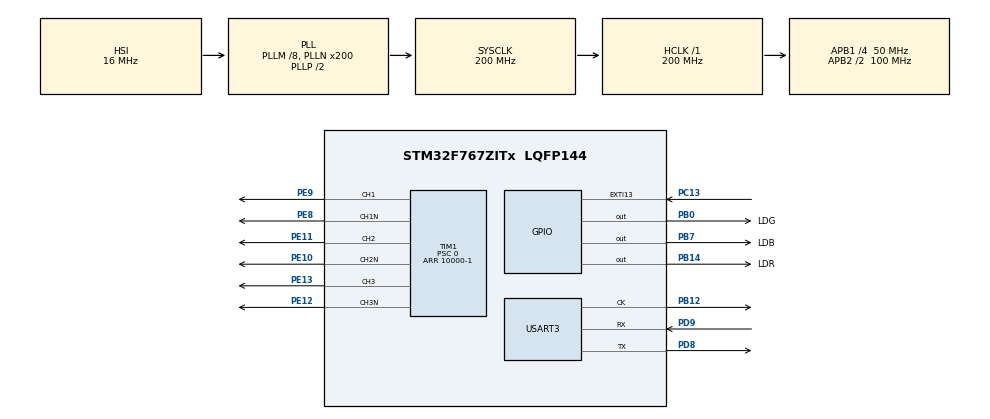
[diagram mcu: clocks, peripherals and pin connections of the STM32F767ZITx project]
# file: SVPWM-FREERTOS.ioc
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Mcu.Family=STM32F7
RCC.CortexFreq_Value=200000000
PB14.GPIO_Label=LDR
RCC.SYSCLKSourceVirtual=RCC_SYSCLKSOURCE_PLLCLK
PB0.GPIO_Label=LDG
PD9.Mode=Synchronous
RCC.SYSCLKSource=RCC_SYSCLKSOURCE_PLLCLK
ProjectManager.StackSize=0x400
VP_FREERTOS_VS_CMSIS_V2.Mode=CMSIS_V2
TIM1.Prescaler=0
PB0.PinState=GPIO_PIN_RESET
PH0/OSC_IN.Mode=HSE-External-Oscillator
RCC.HCLKFreq_Value=200000000
SH.ADCx_IN3.0=ADC1_IN3
RCC.APB2TimFreq_Value=200000000
PH1/OSC_OUT.Signal=RCC_OSC_OUT
PC3.Signal=ADCx_IN13
PD8.Signal=USART3_TX
RCC.AHBFreq_Value=200000000
FREERTOS.configUSE_PREEMPTION=1
NVIC.EXTI15_10_IRQn=true\:5\:0\:false\:false\:true\:true\:true\:true
RCC.HSE_VALUE=16000000
USART3.VirtualMode-Synchronous=VM_SYNC
RCC.PLLMUL=RCC_PLL_MUL9
PE13.Signal=S_TIM1_CH3
PE9.Signal=S_TIM1_CH1
TIM1.DeadTime=100
NVIC.TIM2_IRQn=true\:5\:0\:false\:false\:true\:true\:true\:true
PB7.Signal=GPIO_Output
TIM4.Period=4167-1
PH1/OSC_OUT.Mode=HSE-External-Oscillator
PE10.Signal=TIM1_CH2N
VP_TIM1_VS_ClockSourceINT.Mode=Internal
TIM1.OCFastMode_PWM-PWM\ Generation1\ CH1\ CH1N=TIM_OCFAST_DISABLE
PB7.PinState=GPIO_PIN_RESET
PB7.GPIO_Label=LDB
Mcu.Package=LQFP144
TIM2.Prescaler=5-1
PB12.Mode=Synchronous
NVIC.TimeBase=TIM3_IRQn
NVIC.TimeBaseIP=TIM3
TIM1.OCFastMode_PWM-PWM\ Generation2\ CH2\ CH2N=TIM_OCFAST_DISABLE
RCC.APB2CLKDivider=RCC_HCLK_DIV2
RCC.APB1TimFreq_Value=100000000
TIM1.Period=10000-1
TIM1.OCFastMode_PWM-PWM\ Generation3\ CH3\ CH3N=TIM_OCFAST_DISABLE
PA3.Signal=ADCx_IN3
PE12.Mode=PWM Generation3 CH3 CH3N
SH.ADCx_IN13.0=ADC1_IN13
TIM4.AutoReloadPreload=TIM_AUTORELOAD_PRELOAD_DISABLE
FREERTOS.Tasks01=Default,8,128,default_task,Default,NULL,Dynamic,NULL,NULL;DutyCycle,48,128,calc_dutycycle,Default,NULL,Dynamic,NULL,NULL;Main,24,128,main_task,Default,NULL,Dynamic,NULL,NULL
TIM1.CounterMode=TIM_COUNTERMODE_CENTERALIGNED1
PC13.Signal=GPXTI13
PE10.Mode=PWM Generation2 CH2 CH2N
PD9.Signal=USART3_RX
TIM1.Channel-PWM\ Generation1\ CH1\ CH1N=TIM_CHANNEL_1
PC0.Signal=ADCx_IN10
RCC.APB1CLKDivider=RCC_HCLK_DIV4
PE8.Mode=PWM Generation1 CH1 CH1N
TIM1.Channel-PWM\ Generation2\ CH2\ CH2N=TIM_CHANNEL_2
VP_SYS_VS_tim3.Mode=TIM3
PB14.PinState=GPIO_PIN_RESET
SH.S_TIM1_CH1.0=TIM1_CH1,PWM Generation1 CH1 CH1N
ProjectManager.TargetToolchain=STM32CubeIDE
TIM1.Channel-PWM\ Generation3\ CH3\ CH3N=TIM_CHANNEL_3
RCC.USBFreq_Value=200000000
TIM4.Prescaler=16-1
PE11.Signal=S_TIM1_CH2
RCC.LSE_VALUE=32768
PD8.Mode=Synchronous
PB14.Signal=GPIO_Output
board=NUCLEO-F767ZI
RCC.VCOOutputFreq_Value=400000000
NVIC.TIM3_IRQn=true\:0\:0\:false\:false\:true\:false\:false\:true
PH0/OSC_IN.Signal=RCC_OSC_IN
RCC.APB2Freq_Value=100000000
RCC.PRESCALERUSB=RCC_USBCLKSOURCE_PLL_DIV1_5
SH.S_TIM1_CH2.0=TIM1_CH2,PWM Generation2 CH2 CH2N
VP_TIM2_VS_ClockSourceINT.Mode=Internal
PE8.Signal=TIM1_CH1N
TIM2.Period=200000-1
Mcu.Name=STM32F767ZITx
PE12.Signal=TIM1_CH3N
RCC.48MHZClocksFreq_Value=24000000
RCC.SYSCLKFreq_VALUE=200000000
SH.ADCx_IN10.0=ADC1_IN10
ProjectManager.HeapSize=0x200
SH.S_TIM1_CH3.0=TIM1_CH3,PWM Generation3 CH3 CH3N
RCC.HSI_VALUE=16000000
VP_TIM4_VS_ClockSourceINT.Mode=Internal
NVIC.PriorityGroup=NVIC_PRIORITYGROUP_4
RCC.PLLM=8
RCC.PLLN=200
NVIC.TIM4_IRQn=true\:5\:0\:false\:false\:true\:true\:true\:true
RCC.APB1Freq_Value=50000000
PB0.Signal=GPIO_Output
PB12.Signal=USART3_CK

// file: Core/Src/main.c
/* USER CODE BEGIN Header */
/**
 ******************************************************************************
 * @file           : main.c
 * @brief          : Main program body
 ******************************************************************************
 * @attention
 *
 * <h2><center>&copy; Copyright (c) 2021 STMicroelectronics.
 * All rights reserved.</center></h2>
 *
 * This software component is licensed by ST under BSD 3-Clause license,
 * the "License"; You may not use this file except in compliance with the
 * License. You may obtain a copy of the License at:
 *                        opensource.org/licenses/BSD-3-Clause
 *
 ******************************************************************************
 */
/* USER CODE END Header */
#include "main.h"
#include "cmsis_os.h"

/* USER CODE BEGIN Includes */
#include "inverter.h"
#include <stdlib.h>
#include <math.h>
/* USER CODE END Includes */

/* USER CODE BEGIN PD */
void inverter_set_channel(InverterChannels ch, ChannelState state);
void inverter_set_fout(double f);
void inverter_set_Vm(double vm);
/* USER CODE END PD */

/* USER CODE BEGIN PM */
#define RON  HAL_GPIO_WritePin(LDR_GPIO_Port, LDR_Pin, 1)
#define ROFF HAL_GPIO_WritePin(LDR_GPIO_Port, LDR_Pin, 0)

#define BON  HAL_GPIO_WritePin(LDB_GPIO_Port, LDB_Pin, 1)
#define BOFF HAL_GPIO_WritePin(LDB_GPIO_Port, LDB_Pin, 0)

#define GON  HAL_GPIO_WritePin(LDG_GPIO_Port, LDG_Pin, 1)
#define GOFF HAL_GPIO_WritePin(LDG_GPIO_Port, LDG_Pin, 0)

#define BUF_SIZE 10000
/* USER CODE END PM */

TIM_HandleTypeDef htim1;
TIM_HandleTypeDef htim2;
TIM_HandleTypeDef htim4;

USART_HandleTypeDef husart3;

/* Definitions for Default */
osThreadId_t DefaultHandle;
const osThreadAttr_t Default_attributes = {
  .name = "Default",
  .stack_size = 128 * 4,
  .priority = (osPriority_t) osPriorityLow,
};
/* Definitions for DutyCycle */
osThreadId_t DutyCycleHandle;
const osThreadAttr_t DutyCycle_attributes = {
  .name = "DutyCycle",
  .stack_size = 128 * 4,
  .priority = (osPriority_t) osPriorityRealtime,
};
/* Definitions for Main */
osThreadId_t MainHandle;
const osThreadAttr_t Main_attributes = {
  .name = "Main",
  .stack_size = 128 * 4,
  .priority = (osPriority_t) osPriorityNormal,
};

void SystemClock_Config(void);
static void MX_GPIO_Init(void);
static void MX_TIM4_Init(void);
static void MX_TIM1_Init(void);
static void MX_USART3_Init(void);
static void MX_TIM2_Init(void);
void default_task(void *argument);
void calc_dutycycle(void *argument);
void main_task(void *argument);

/* USER CODE BEGIN 0 */
Inverter inv;

uint16_t adc_val_U[BUF_SIZE];
uint16_t adc_val_V[BUF_SIZE];
uint16_t adc_val_W[BUF_SIZE];

/* USER CODE END 0 */

int main(void)
{
  /* USER CODE BEGIN 1 */
	inv_init(&inv);
	inv.f_sampling = 1500;
	inverter_set_fout(50);

  /* USER CODE END 1 */

  /* MCU Configuration--------------------------------------------------------*/

  /* Reset of all peripherals, Initializes the Flash interface and the Systick. */
  HAL_Init();

  /* Configure the system clock */
  SystemClock_Config();

  /* Initialize all configured peripherals */
  MX_GPIO_Init();
  MX_TIM4_Init();
  MX_TIM1_Init();
  MX_USART3_Init();
  MX_TIM2_Init();

  /* Init scheduler */
  osKernelInitialize();

  /* Create the thread(s) */
  /* creation of Default */
  DefaultHandle = osThreadNew(default_task, NULL, &Default_attributes);

  /* creation of DutyCycle */
  DutyCycleHandle = osThreadNew(calc_dutycycle, NULL, &DutyCycle_attributes);

  /* creation of Main */
  MainHandle = osThreadNew(main_task, NULL, &Main_attributes);

  /* USER CODE BEGIN RTOS_THREADS */
	/* add threads, ... */
	vTaskSuspend(DefaultHandle);

	inverter_set_channel(U, ON);
	inverter_set_channel(UN, ON);
	inverter_set_channel(V, ON);
	inverter_set_channel(VN, ON);
	inverter_set_channel(W, ON);
	inverter_set_channel(WN, ON);

	HAL_TIM_Base_Start_IT(&htim4);
	HAL_TIM_Base_Start(&htim2);

  /* USER CODE END RTOS_THREADS */

  /* Start scheduler */
  osKernelStart();

  /* We should never get here as control is now taken by the scheduler */
  /* Infinite loop */
	while (1) {

	}
}

void SystemClock_Config(void)
{
  RCC_OscInitTypeDef RCC_OscInitStruct = {0};
  RCC_ClkInitTypeDef RCC_ClkInitStruct = {0};
  RCC_PeriphCLKInitTypeDef PeriphClkInitStruct = {0};

  /** Configure the main internal regulator output voltage
  */
  __HAL_RCC_PWR_CLK_ENABLE();
  __HAL_PWR_VOLTAGESCALING_CONFIG(PWR_REGULATOR_VOLTAGE_SCALE1);
  /** Initializes the RCC Oscillators according to the specified parameters
  * in the RCC_OscInitTypeDef structure.
  */
  RCC_OscInitStruct.OscillatorType = RCC_OSCILLATORTYPE_HSI;
  RCC_OscInitStruct.HSIState = RCC_HSI_ON;
  RCC_OscInitStruct.HSICalibrationValue = RCC_HSICALIBRATION_DEFAULT;
  RCC_OscInitStruct.PLL.PLLState = RCC_PLL_ON;
  RCC_OscInitStruct.PLL.PLLSource = RCC_PLLSOURCE_HSI;
  RCC_OscInitStruct.PLL.PLLM = 8;
  RCC_OscInitStruct.PLL.PLLN = 200;
  RCC_OscInitStruct.PLL.PLLP = RCC_PLLP_DIV2;
  RCC_OscInitStruct.PLL.PLLQ = 2;
  if (HAL_RCC_OscConfig(&RCC_OscInitStruct) != HAL_OK)
  {
    Error_Handler();
  }
  /** Activate the Over-Drive mode
  */
  if (HAL_PWREx_EnableOverDrive() != HAL_OK)
  {
    Error_Handler();
  }
  /** Initializes the CPU, AHB and APB buses clocks
  */
  RCC_ClkInitStruct.ClockType = RCC_CLOCKTYPE_HCLK|RCC_CLOCKTYPE_SYSCLK
                              |RCC_CLOCKTYPE_PCLK1|RCC_CLOCKTYPE_PCLK2;
  RCC_ClkInitStruct.SYSCLKSource = RCC_SYSCLKSOURCE_PLLCLK;
  RCC_ClkInitStruct.AHBCLKDivider = RCC_SYSCLK_DIV1;
  RCC_ClkInitStruct.APB1CLKDivider = RCC_HCLK_DIV4;
  RCC_ClkInitStruct.APB2CLKDivider = RCC_HCLK_DIV2;

  if (HAL_RCC_ClockConfig(&RCC_ClkInitStruct, FLASH_LATENCY_6) != HAL_OK)
  {
    Error_Handler();
  }
  PeriphClkInitStruct.PeriphClockSelection = RCC_PERIPHCLK_USART3;
  PeriphClkInitStruct.Usart3ClockSelection = RCC_USART3CLKSOURCE_PCLK1;
  if (HAL_RCCEx_PeriphCLKConfig(&PeriphClkInitStruct) != HAL_OK)
  {
    Error_Handler();
  }
}

static void MX_TIM1_Init(void)
{

  TIM_ClockConfigTypeDef sClockSourceConfig = {0};
  TIM_MasterConfigTypeDef sMasterConfig = {0};
  TIM_OC_InitTypeDef sConfigOC = {0};
  TIM_BreakDeadTimeConfigTypeDef sBreakDeadTimeConfig = {0};

  htim1.Instance = TIM1;
  htim1.Init.Prescaler = 0;
  htim1.Init.CounterMode = TIM_COUNTERMODE_CENTERALIGNED1;
  htim1.Init.Period = 10000-1;
  htim1.Init.ClockDivision = TIM_CLOCKDIVISION_DIV1;
  htim1.Init.RepetitionCounter = 0;
  htim1.Init.AutoReloadPreload = TIM_AUTORELOAD_PRELOAD_DISABLE;
  if (HAL_TIM_Base_Init(&htim1) != HAL_OK)
  {
    Error_Handler();
  }
  sClockSourceConfig.ClockSource = TIM_CLOCKSOURCE_INTERNAL;
  if (HAL_TIM_ConfigClockSource(&htim1, &sClockSourceConfig) != HAL_OK)
  {
    Error_Handler();
  }
  if (HAL_TIM_PWM_Init(&htim1) != HAL_OK)
  {
    Error_Handler();
  }
  sMasterConfig.MasterOutputTrigger = TIM_TRGO_RESET;
  sMasterConfig.MasterOutputTrigger2 = TIM_TRGO2_RESET;
  sMasterConfig.MasterSlaveMode = TIM_MASTERSLAVEMODE_DISABLE;
  if (HAL_TIMEx_MasterConfigSynchronization(&htim1, &sMasterConfig) != HAL_OK)
  {
    Error_Handler();
  }
  sConfigOC.OCMode = TIM_OCMODE_PWM1;
  sConfigOC.Pulse = 0;
  sConfigOC.OCPolarity = TIM_OCPOLARITY_HIGH;
  sConfigOC.OCNPolarity = TIM_OCNPOLARITY_HIGH;
  sConfigOC.OCFastMode = TIM_OCFAST_DISABLE;
  sConfigOC.OCIdleState = TIM_OCIDLESTATE_RESET;
  sConfigOC.OCNIdleState = TIM_OCNIDLESTATE_RESET;
  if (HAL_TIM_PWM_ConfigChannel(&htim1, &sConfigOC, TIM_CHANNEL_1) != HAL_OK)
  {
    Error_Handler();
  }
  if (HAL_TIM_PWM_ConfigChannel(&htim1, &sConfigOC, TIM_CHANNEL_2) != HAL_OK)
  {
    Error_Handler();
  }
  if (HAL_TIM_PWM_ConfigChannel(&htim1, &sConfigOC, TIM_CHANNEL_3) != HAL_OK)
  {
    Error_Handler();
  }
  sBreakDeadTimeConfig.OffStateRunMode = TIM_OSSR_DISABLE;
  sBreakDeadTimeConfig.OffStateIDLEMode = TIM_OSSI_DISABLE;
  sBreakDeadTimeConfig.LockLevel = TIM_LOCKLEVEL_OFF;
  sBreakDeadTimeConfig.DeadTime = 100;
  sBreakDeadTimeConfig.BreakState = TIM_BREAK_DISABLE;
  sBreakDeadTimeConfig.BreakPolarity = TIM_BREAKPOLARITY_HIGH;
  sBreakDeadTimeConfig.BreakFilter = 0;
  sBreakDeadTimeConfig.Break2State = TIM_BREAK2_DISABLE;
  sBreakDeadTimeConfig.Break2Polarity = TIM_BREAK2POLARITY_HIGH;
  sBreakDeadTimeConfig.Break2Filter = 0;
  sBreakDeadTimeConfig.AutomaticOutput = TIM_AUTOMATICOUTPUT_DISABLE;
  if (HAL_TIMEx_ConfigBreakDeadTime(&htim1, &sBreakDeadTimeConfig) != HAL_OK)
  {
    Error_Handler();
  }
  HAL_TIM_MspPostInit(&htim1);

}

static void MX_TIM2_Init(void)
{

  TIM_ClockConfigTypeDef sClockSourceConfig = {0};
  TIM_MasterConfigTypeDef sMasterConfig = {0};

  htim2.Instance = TIM2;
  htim2.Init.Prescaler = 5-1;
  htim2.Init.CounterMode = TIM_COUNTERMODE_UP;
  htim2.Init.Period = 200000-1;
  htim2.Init.ClockDivision = TIM_CLOCKDIVISION_DIV1;
  htim2.Init.AutoReloadPreload = TIM_AUTORELOAD_PRELOAD_DISABLE;
  if (HAL_TIM_Base_Init(&htim2) != HAL_OK)
  {
    Error_Handler();
  }
  sClockSourceConfig.ClockSource = TIM_CLOCKSOURCE_INTERNAL;
  if (HAL_TIM_ConfigClockSource(&htim2, &sClockSourceConfig) != HAL_OK)
  {
    Error_Handler();
  }
  sMasterConfig.MasterOutputTrigger = TIM_TRGO_RESET;
  sMasterConfig.MasterSlaveMode = TIM_MASTERSLAVEMODE_DISABLE;
  if (HAL_TIMEx_MasterConfigSynchronization(&htim2, &sMasterConfig) != HAL_OK)
  {
    Error_Handler();
  }

}

static void MX_TIM4_Init(void)
{

  TIM_ClockConfigTypeDef sClockSourceConfig = {0};
  TIM_MasterConfigTypeDef sMasterConfig = {0};

  htim4.Instance = TIM4;
  htim4.Init.Prescaler = 16-1;
  htim4.Init.CounterMode = TIM_COUNTERMODE_UP;
  htim4.Init.Period = 4167-1;
  htim4.Init.ClockDivision = TIM_CLOCKDIVISION_DIV1;
  htim4.Init.AutoReloadPreload = TIM_AUTORELOAD_PRELOAD_DISABLE;
  if (HAL_TIM_Base_Init(&htim4) != HAL_OK)
  {
    Error_Handler();
  }
  sClockSourceConfig.ClockSource = TIM_CLOCKSOURCE_INTERNAL;
  if (HAL_TIM_ConfigClockSource(&htim4, &sClockSourceConfig) != HAL_OK)
  {
    Error_Handler();
  }
  sMasterConfig.MasterOutputTrigger = TIM_TRGO_RESET;
  sMasterConfig.MasterSlaveMode = TIM_MASTERSLAVEMODE_DISABLE;
  if (HAL_TIMEx_MasterConfigSynchronization(&htim4, &sMasterConfig) != HAL_OK)
  {
    Error_Handler();
  }

}

static void MX_USART3_Init(void)
{

  husart3.Instance = USART3;
  husart3.Init.BaudRate = 115200;
  husart3.Init.WordLength = USART_WORDLENGTH_8B;
  husart3.Init.StopBits = USART_STOPBITS_1;
  husart3.Init.Parity = USART_PARITY_NONE;
  husart3.Init.Mode = USART_MODE_TX_RX;
  husart3.Init.CLKPolarity = USART_POLARITY_LOW;
  husart3.Init.CLKPhase = USART_PHASE_1EDGE;
  husart3.Init.CLKLastBit = USART_LASTBIT_DISABLE;
  if (HAL_USART_Init(&husart3) != HAL_OK)
  {
    Error_Handler();
  }

}

static void MX_GPIO_Init(void)
{
  GPIO_InitTypeDef GPIO_InitStruct = {0};

  /* GPIO Ports Clock Enable */
  __HAL_RCC_GPIOC_CLK_ENABLE();
  __HAL_RCC_GPIOH_CLK_ENABLE();
  __HAL_RCC_GPIOA_CLK_ENABLE();
  __HAL_RCC_GPIOB_CLK_ENABLE();
  __HAL_RCC_GPIOE_CLK_ENABLE();
  __HAL_RCC_GPIOD_CLK_ENABLE();

  /*Configure GPIO pin Output Level */
  HAL_GPIO_WritePin(GPIOB, LDG_Pin|LDR_Pin|LDB_Pin, GPIO_PIN_RESET);

  /*Configure GPIO pin : PC13 */
  GPIO_InitStruct.Pin = GPIO_PIN_13;
  GPIO_InitStruct.Mode = GPIO_MODE_IT_RISING;
  GPIO_InitStruct.Pull = GPIO_NOPULL;
  HAL_GPIO_Init(GPIOC, &GPIO_InitStruct);

  /*Configure GPIO pins : PC0 PC3 */
  GPIO_InitStruct.Pin = GPIO_PIN_0|GPIO_PIN_3;
  GPIO_InitStruct.Mode = GPIO_MODE_ANALOG;
  GPIO_InitStruct.Pull = GPIO_NOPULL;
  HAL_GPIO_Init(GPIOC, &GPIO_InitStruct);

  /*Configure GPIO pin : PA3 */
  GPIO_InitStruct.Pin = GPIO_PIN_3;
  GPIO_InitStruct.Mode = GPIO_MODE_ANALOG;
  GPIO_InitStruct.Pull = GPIO_NOPULL;
  HAL_GPIO_Init(GPIOA, &GPIO_InitStruct);

  /*Configure GPIO pins : LDG_Pin LDR_Pin LDB_Pin */
  GPIO_InitStruct.Pin = LDG_Pin|LDR_Pin|LDB_Pin;
  GPIO_InitStruct.Mode = GPIO_MODE_OUTPUT_PP;
  GPIO_InitStruct.Pull = GPIO_NOPULL;
  GPIO_InitStruct.Speed = GPIO_SPEED_FREQ_LOW;
  HAL_GPIO_Init(GPIOB, &GPIO_InitStruct);

  /* EXTI interrupt init*/
  HAL_NVIC_SetPriority(EXTI15_10_IRQn, 5, 0);
  HAL_NVIC_EnableIRQ(EXTI15_10_IRQn);

}

/* USER CODE BEGIN 4 */

void inverter_set_channel(InverterChannels ch, ChannelState state) {
	switch (ch) {
	case U:
		if (state == ON) {
			HAL_TIM_PWM_Start(&htim1, TIM_CHANNEL_1);
		} else {
			HAL_TIM_PWM_Stop(&htim1, TIM_CHANNEL_1);
		}
		break;

	case UN:
		if (state == ON) {
			HAL_TIMEx_PWMN_Start(&htim1, TIM_CHANNEL_1);
		} else {
			HAL_TIMEx_PWMN_Stop(&htim1, TIM_CHANNEL_1);
		}
		break;

	case V:
		if (state == ON) {
			HAL_TIM_PWM_Start(&htim1, TIM_CHANNEL_2);
		} else {
			HAL_TIM_PWM_Stop(&htim1, TIM_CHANNEL_2);
		}
		break;

	case VN:
		if (state == ON) {
			HAL_TIMEx_PWMN_Start(&htim1, TIM_CHANNEL_2);
		} else {
			HAL_TIMEx_PWMN_Stop(&htim1, TIM_CHANNEL_2);
		}
		break;

	case W:
		if (state == ON) {
			HAL_TIM_PWM_Start(&htim1, TIM_CHANNEL_3);
		} else {
			HAL_TIM_PWM_Stop(&htim1, TIM_CHANNEL_3);
		}
		break;

	case WN:
		if (state == ON) {
			HAL_TIMEx_PWMN_Start(&htim1, TIM_CHANNEL_3);
		} else {
			HAL_TIMEx_PWMN_Stop(&htim1, TIM_CHANNEL_3);
		}
		break;
	}
}

void inverter_set_fout(double f) {
	f = (f < 0.01) ? 0.0 : f;
	f = (f > 100.0) ? 100.0 : f;
	inv.f_out = f;
	htim2.Instance->ARR = (uint32_t) 100e6 / (f * (htim2.Instance->PSC + 1));
}

void inverter_set_Vm(double vm) {
	vm = (vm < 0.01) ? 0.0 : vm;
	vm = (vm > MAXV) ? MAXV : vm;
	inv.Vm = vm;
}

void EXTI15_10_IRQHandler(void) {
	/* USER CODE BEGIN EXTI15_10_IRQn 0 */

	/* USER CODE END EXTI15_10_IRQn 0 */
	HAL_GPIO_EXTI_IRQHandler(GPIO_PIN_13);
	/* USER CODE BEGIN EXTI15_10_IRQn 1 */
	xTaskResumeFromISR(MainHandle);

	/* USER CODE END EXTI15_10_IRQn 1 */
}

/* USER CODE END 4 */

void default_task(void *argument)
{
  /* USER CODE BEGIN 5 */
	/* Infinite loop */
	for (;;) {
		HAL_GPIO_WritePin(LDB_GPIO_Port, LDB_Pin, 0);
		HAL_GPIO_WritePin(LDG_GPIO_Port, LDG_Pin, 0);
		HAL_GPIO_WritePin(LDR_GPIO_Port, LDR_Pin, 0);
		osDelay(500);
		HAL_GPIO_WritePin(LDB_GPIO_Port, LDB_Pin, 1);
		HAL_GPIO_WritePin(LDG_GPIO_Port, LDG_Pin, 1);
		HAL_GPIO_WritePin(LDR_GPIO_Port, LDR_Pin, 1);
		osDelay(500);

	}
  /* USER CODE END 5 */
}

void calc_dutycycle(void *argument)
{
  /* USER CODE BEGIN calc_dutycycle */
	/* Infinite loop */
	for (;;) {
		RON;
		inv.theta = (double) (htim2.Instance->CNT + 1)
				/ (htim2.Instance->ARR + 1) * 2 * PI;
		inv_calc_dc(&inv);
		__HAL_TIM_SET_COMPARE(&htim1, TIM_CHANNEL_1,
				(10000-1) * inv.dc[U]);
		__HAL_TIM_SET_COMPARE(&htim1, TIM_CHANNEL_2,
				(10000-1) * inv.dc[V]);
		__HAL_TIM_SET_COMPARE(&htim1, TIM_CHANNEL_3,
				(10000-1) * inv.dc[W]);
		ROFF;
		vTaskSuspend(DutyCycleHandle);

	}
  /* USER CODE END calc_dutycycle */
}

void main_task(void *argument)
{
  /* USER CODE BEGIN main_task */
	const double nb_steps = 100;
	const double max_V = 20.0;
	const double max_f = 50.0;
	const double step_V = max_V / nb_steps;
	const double step_f = max_f / nb_steps;

	const uint32_t ramptime = 5;
	const uint32_t testcase_runtime = 200;
	const uint32_t testcase_recoverytime = 200;

	/* Infinite loop */
	for (;;) {
		 // RAMP UP
		 vTaskSuspend(MainHandle);
		 for (int i = 0; i < nb_steps; i++) {
		 inverter_set_fout((i + 1) * step_f);
		 inverter_set_Vm((i + 1) * step_V);
		 osDelay(ramptime);
		 }

		 vTaskSuspend(MainHandle);

		 inverter_set_channel(U, OFF);
		 vTaskSuspend(MainHandle);

		 inverter_set_channel(U, ON);
		 inverter_set_channel(UN, OFF);
                 vTaskSuspend(MainHandle);

		 inverter_set_channel(UN, ON);
		 inverter_set_channel(V, OFF);
                 vTaskSuspend(MainHandle);

		 inverter_set_channel(V, ON);
		 inverter_set_channel(VN, OFF);
                 vTaskSuspend(MainHandle);

		 inverter_set_channel(VN, ON);
		 inverter_set_channel(W, OFF);
                 vTaskSuspend(MainHandle);

		 inverter_set_channel(W, ON);
		 inverter_set_channel(WN, OFF);
                 vTaskSuspend(MainHandle);

		 inverter_set_channel(WN, ON);
		 vTaskSuspend(MainHandle);

		 // RAMPDOWN
		 for (int i = nb_steps; i > 0; i--) {
		 inverter_set_fout((i - 1) * step_f);
		 inverter_set_Vm((i - 1) * step_V);
		 osDelay(ramptime);
		 }

		 // DONE TEST
		 HAL_TIM_Base_Stop_IT(&htim4);
		 HAL_TIM_Base_Stop(&htim4);
		 inverter_set_channel(U, OFF);
		 inverter_set_channel(UN, OFF);
		 inverter_set_channel(V, OFF);
		 inverter_set_channel(VN, OFF);
		 inverter_set_channel(W, OFF);
		 inverter_set_channel(WN, OFF);
		 vTaskSuspend(DutyCycleHandle);
		 vTaskResume(DefaultHandle);
		 vTaskDelete(DutyCycleHandle);
		 vTaskDelete(MainHandle);
		 vTaskSuspend(MainHandle);
                 vTaskResume(DefaultHandle);

	}
  /* USER CODE END main_task */
}

 /**
  * @brief  Period elapsed callback in non blocking mode
  * @note   This function is called  when TIM3 interrupt took place, inside
  * HAL_TIM_IRQHandler(). It makes a direct call to HAL_IncTick() to increment
  * a global variable "uwTick" used as application time base.
  * @param  htim : TIM handle
  * @retval None
  */
void HAL_TIM_PeriodElapsedCallback(TIM_HandleTypeDef *htim)
{
  if (htim->Instance == TIM3) {
    HAL_IncTick();
  }
  /* USER CODE BEGIN Callback 1 */
	if (htim->Instance == TIM4) {
		xTaskResumeFromISR(DutyCycleHandle);
		portYIELD_FROM_ISR(pdTRUE);
	}

  /* USER CODE END Callback 1 */
}

void Error_Handler(void)
{
	__disable_irq();
	while (1) {
	}
}

/************************ (C) COPYRIGHT STMicroelectronics *****END OF FILE****/
